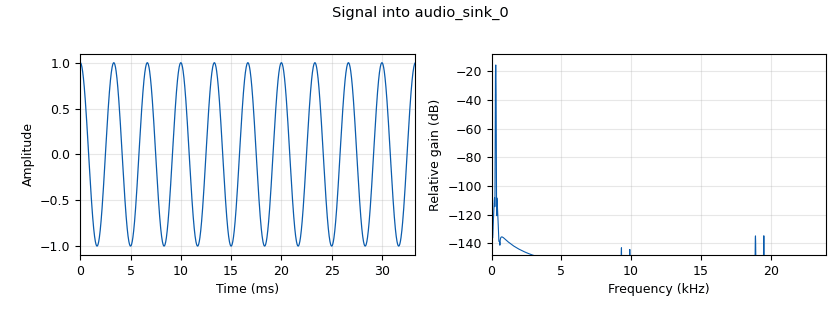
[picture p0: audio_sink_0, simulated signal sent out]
options:
  parameters:
    author: alex
    generate_options: qt_gui
    id: Main
    output_language: python
    title: Audio Issues Cleanup
  states: {}

blocks:
- name: samp_rate
  id: variable
  parameters:
    value: '48000'
  states: {}
- name: analog_sig_source_x_0
  id: analog_sig_source_x
  parameters:
    amp: '1'
    freq: '300'
    offset: '0'
    phase: '0'
    samp_rate: samp_rate
    type: float
    waveform: analog.GR_COS_WAVE
  states: {}
- name: audio_sink_0
  id: audio_sink
  parameters:
    samp_rate: samp_rate
  states: {}

connections:
- [analog_sig_source_x_0, '0', audio_sink_0, '0']

metadata:
  file_format: 1
